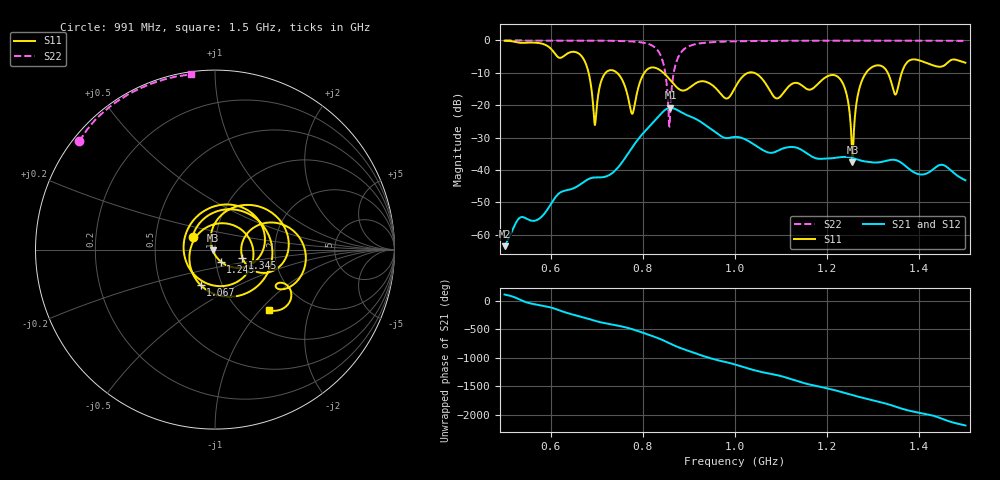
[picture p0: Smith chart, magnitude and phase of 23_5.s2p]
! TOUCHSTONE file generated by CST MICROWAVE STUDIO
! Date and time: Mon Nov 30 08:11:45 2020
! Project name: Scenario_1_Planar_Body_Tissue_Out_of_Line.cst
! Parameters = {dy1=34.6; L_HA=400; Ltissue=700; MT=2.54; Rad_Dielectric=30; Rad_Lower=7.3; Rad_Upper=30; Wtissue=700; a_HA=580; a_WG=246; b_HA=500; b_WG=121; c_HA=0; c_WG=187; d_feed=85; dx1=866; h_feed=15; h_lower=18; h_upper=40; hfat=3; hgap=25; hmuscle=50; hskin=1.5}
! Header version: 2018
! Port assignment regex: !\s*Touchstone port\s*([0-9]+)\s*=\s*(CST MWS port|CST DS port)\s*([0-9]+|Zmin|Zmax)\s*\(\"(.*)\"\)(\s*mode\s*([0-9]+))?.*
! Touchstone port assignment:
! Touchstone port 1 = CST MWS port 1 ("")
! Touchstone port 2 = CST MWS port 2 ("")
# GHz S DB R 50
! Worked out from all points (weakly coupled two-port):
!   1003 points, 500 MHz to 1.5 GHz, reference 50 ohm
!   highest |S21| = -20.80 dB at 860 MHz (marker M1); lowest = -63.5 dB at 500 MHz (marker M2)
!   lowest |S11| = -37.6 dB at 1.255 GHz (marker M3), VSWR 1.03, Z = 48.8 - j0.48 ohm
!   |S11| at or under -10 dB: 744.1 MHz to 803.2 MHz (59.09 MHz wide, 7.64 % of centre); 844.7 MHz to 1.028 GHz (183.8 MHz wide, 19.6 % of centre); 1.042 GHz to 1.284 GHz (242.8 MHz wide, 20.9 % of centre)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
!   |S22| runs from -26.6 to 0.0 dB; largest |S21 - S12| = 7.2e-06
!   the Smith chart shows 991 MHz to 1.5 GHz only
!   S11 on the Smith chart (normalised r, x): 991 MHz: 0.77, +0.11; 1.067 GHz: 0.79, -0.33; 1.249 GHz: 1.06, -0.14; 1.345 GHz: 1.35, -0.12; 1.5 GHz: 1.32, -1.12
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0.5  -0.10 -122.1  -63.51 106.7  -63.51 106.7  -0.01 151.1
0.583  -1.08 -168.1  -54.02 -89.1  -54.02 -89.1  -0.02 145.4
0.667  -4.84 121.8  -44.16 76.6  -44.16 76.6  -0.04 138.4
0.696  -26.14 -40.2  -42.30 6.8  -42.30 6.8  -0.06 135.3
0.723  -9.52 169.0  -41.85 -43.2  -41.85 -43.2  -0.10 131.9
0.777  -22.65 -35.5  -33.00 -140.6  -33.00 -140.6  -0.32 121.2
0.806  -9.47 161.4  -27.84 141.3  -27.84 141.3  -0.84 109.4
0.834  -8.87 70.8  -23.49 59.3  -23.49 59.3  -3.43 83.2
0.86  -12.30 -15.9  -20.80 -35.4  -20.80 -35.4  -20.26 -115.8
0.887  -15.49 -133.0  -22.47 -126.3  -22.47 -126.3  -3.03 179.2
0.991  -16.84 150.6  -29.98 -17.6  -29.98 -17.6  -0.29 141.4
1  -14.59 106.9  -29.79 -38.5  -29.79 -38.5  -0.27 140.2
1.032  -9.87 -5.1  -31.29 -117.5  -31.29 -117.5  -0.19 136.3
1.067  -13.42 -112.0  -34.32 173.9  -34.32 173.9  -0.14 132.7
1.167  -14.99 166.9  -35.87 -38.6  -35.86 -38.6  -0.09 124.2
1.223  -11.20 4.4  -36.13 -142.8  -36.13 -142.8  -0.09 119.9
1.249  -22.64 -64.3  -36.10 158.1  -36.10 158.1  -0.08 117.9
1.255  -37.59 -158.1  -36.30 144.4  -36.30 144.4  -0.08 117.5
1.282  -10.53 56.6  -37.35 88.1  -37.35 88.1  -0.08 115.4
1.334  -10.76 -26.5  -36.97 -19.0  -36.97 -19.0  -0.09 111.5
1.345  -15.96 -16.3  -36.85 -47.3  -36.85 -47.3  -0.09 110.6
1.5  -6.88 -48.2  -43.16 -26.5  -43.16 -26.5  -0.13 97.9
